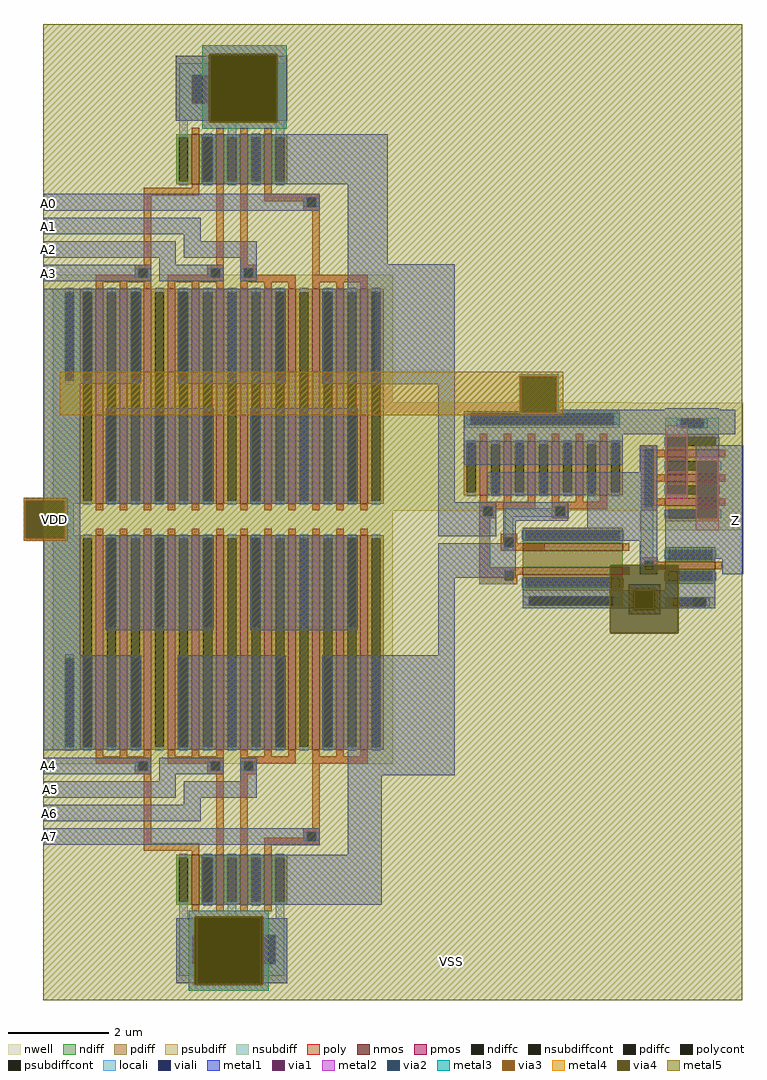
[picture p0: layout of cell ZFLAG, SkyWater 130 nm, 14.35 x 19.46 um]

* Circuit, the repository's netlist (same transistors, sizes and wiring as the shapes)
* NGSPICE file created from ZFLAG.ext - technology: sky130B

.subckt sky130_fd_pr__pfet_01v8_64A2S3 a_n33_n428# a_447_n428# a_n605_n428# a_321_n484#
+ a_n543_n484# a_543_n428# a_159_n428# a_33_n484# a_n255_n484# a_255_n428# w_n641_n484#
+ a_351_n428# a_n417_n428# a_n513_n428# a_n129_n428# a_63_n428# a_n225_n428# a_n321_n428#
X0 a_447_n428# a_321_n484# a_351_n428# w_n641_n484# sky130_fd_pr__pfet_01v8 ad=0.7062 pd=4.61 as=0.7062 ps=4.61 w=4.28 l=0.15
X1 a_n513_n428# a_n543_n484# a_n605_n428# w_n641_n484# sky130_fd_pr__pfet_01v8 ad=0.7062 pd=4.61 as=1.3268 ps=9.18 w=4.28 l=0.15
X2 a_63_n428# a_33_n484# a_n33_n428# w_n641_n484# sky130_fd_pr__pfet_01v8 ad=0.7062 pd=4.61 as=0.7062 ps=4.61 w=4.28 l=0.15
X3 a_n129_n428# a_n255_n484# a_n225_n428# w_n641_n484# sky130_fd_pr__pfet_01v8 ad=0.7062 pd=4.61 as=0.7062 ps=4.61 w=4.28 l=0.15
X4 a_n417_n428# a_n543_n484# a_n513_n428# w_n641_n484# sky130_fd_pr__pfet_01v8 ad=0.7062 pd=4.61 as=0.7062 ps=4.61 w=4.28 l=0.15
X5 a_n33_n428# a_n255_n484# a_n129_n428# w_n641_n484# sky130_fd_pr__pfet_01v8 ad=0.7062 pd=4.61 as=0.7062 ps=4.61 w=4.28 l=0.15
X6 a_351_n428# a_321_n484# a_255_n428# w_n641_n484# sky130_fd_pr__pfet_01v8 ad=0.7062 pd=4.61 as=0.7062 ps=4.61 w=4.28 l=0.15
X7 a_255_n428# a_33_n484# a_159_n428# w_n641_n484# sky130_fd_pr__pfet_01v8 ad=0.7062 pd=4.61 as=0.7062 ps=4.61 w=4.28 l=0.15
X8 a_n321_n428# a_n543_n484# a_n417_n428# w_n641_n484# sky130_fd_pr__pfet_01v8 ad=0.7062 pd=4.61 as=0.7062 ps=4.61 w=4.28 l=0.15
X9 a_543_n428# a_321_n484# a_447_n428# w_n641_n484# sky130_fd_pr__pfet_01v8 ad=1.3268 pd=9.18 as=0.7062 ps=4.61 w=4.28 l=0.15
X10 a_159_n428# a_33_n484# a_63_n428# w_n641_n484# sky130_fd_pr__pfet_01v8 ad=0.7062 pd=4.61 as=0.7062 ps=4.61 w=4.28 l=0.15
X11 a_n225_n428# a_n255_n484# a_n321_n428# w_n641_n484# sky130_fd_pr__pfet_01v8 ad=0.7062 pd=4.61 as=0.7062 ps=4.61 w=4.28 l=0.15
.ends

.subckt sky130_fd_pr__nfet_01v8_S9NJ5Q a_159_n100# a_n159_n126# a_33_n126# a_n129_n100#
+ a_n221_n100# a_63_n100# a_n63_n126# a_n33_n100# a_129_n126# VSUBS
X0 a_n129_n100# a_n159_n126# a_n221_n100# VSUBS sky130_fd_pr__nfet_01v8 ad=0.165 pd=1.33 as=0.31 ps=2.62 w=1 l=0.15
X1 a_63_n100# a_33_n126# a_n33_n100# VSUBS sky130_fd_pr__nfet_01v8 ad=0.165 pd=1.33 as=0.165 ps=1.33 w=1 l=0.15
X2 a_n33_n100# a_n63_n126# a_n129_n100# VSUBS sky130_fd_pr__nfet_01v8 ad=0.165 pd=1.33 as=0.165 ps=1.33 w=1 l=0.15
X3 a_159_n100# a_129_n126# a_63_n100# VSUBS sky130_fd_pr__nfet_01v8 ad=0.31 pd=2.62 as=0.165 ps=1.33 w=1 l=0.15
.ends

.subckt nor4 A B C D VSS Y VDD
Xsky130_fd_pr__pfet_01v8_64A2S3_0 m1_n20_1047# m1_268_1523# VDD D A Y m1_n20_1047#
+ C B m1_268_1523# VDD Y VDD m1_n308_1523# m1_n308_1523# m1_268_1523# m1_n20_1047#
+ m1_n308_1523# sky130_fd_pr__pfet_01v8_64A2S3
Xsky130_fd_pr__nfet_01v8_S9NJ5Q_0 VSS A C Y VSS Y B VSS D VSS sky130_fd_pr__nfet_01v8_S9NJ5Q
.ends

.subckt sky130_fd_pr__nfet_01v8_6H9P4D a_n73_n100# a_15_n100# a_n15_n126# VSUBS
X0 a_15_n100# a_n15_n126# a_n73_n100# VSUBS sky130_fd_pr__nfet_01v8 ad=0.29 pd=2.58 as=0.29 ps=2.58 w=1 l=0.15
.ends

.subckt efepmos_W107-L15-F3 a_n129_n204# a_n173_n107# w_n209_n207# a_n81_n107#
X0 a_n81_n107# a_n129_n204# a_n173_n107# w_n209_n207# sky130_fd_pr__pfet_01v8 ad=0.3317 pd=2.76 as=0.17655 ps=1.4 w=1.07 l=0.15
X1 a_n81_n107# a_n129_n204# a_n173_n107# w_n209_n207# sky130_fd_pr__pfet_01v8 ad=0.17655 pd=1.4 as=0.3317 ps=2.76 w=1.07 l=0.15
X2 a_n173_n107# a_n129_n204# a_n81_n107# w_n209_n207# sky130_fd_pr__pfet_01v8 ad=0.17655 pd=1.4 as=0.17655 ps=1.4 w=1.07 l=0.15
.ends

.subckt inv A VSS VDD Y
Xsky130_fd_pr__nfet_01v8_6H9P4D_0 Y VSS A VSS sky130_fd_pr__nfet_01v8_6H9P4D
Xefepmos_W107-L15-F3_0 A VDD VDD Y efepmos_W107-L15-F3
.ends

.subckt nmos_2shared_W200-L015-F1 a_63_n200# a_n63_n226# a_n33_n200# a_33_n226# a_n125_n200#
+ VSUBS
X0 a_n33_n200# a_n63_n226# a_n125_n200# VSUBS sky130_fd_pr__nfet_01v8 ad=0.33 pd=2.33 as=0.62 ps=4.62 w=2 l=0.15
X1 a_63_n200# a_33_n226# a_n33_n200# VSUBS sky130_fd_pr__nfet_01v8 ad=0.62 pd=4.62 as=0.33 ps=2.33 w=2 l=0.15
.ends

.subckt pmos_p2-w321-L015-f3 a_n317_n107# w_n353_n143# a_n225_n107# a_33_n138# a_n255_n138#
X0 a_n225_n107# a_33_n138# a_n317_n107# w_n353_n143# sky130_fd_pr__pfet_01v8 ad=0.17655 pd=1.4 as=0.17655 ps=1.4 w=1.07 l=0.15
X1 a_n225_n107# a_n255_n138# a_n317_n107# w_n353_n143# sky130_fd_pr__pfet_01v8 ad=0.17655 pd=1.4 as=0.3317 ps=2.76 w=1.07 l=0.15
X2 a_n317_n107# a_33_n138# a_n225_n107# w_n353_n143# sky130_fd_pr__pfet_01v8 ad=0.17655 pd=1.4 as=0.17655 ps=1.4 w=1.07 l=0.15
X3 a_n317_n107# a_n255_n138# a_n225_n107# w_n353_n143# sky130_fd_pr__pfet_01v8 ad=0.17655 pd=1.4 as=0.17655 ps=1.4 w=1.07 l=0.15
X4 a_n225_n107# a_n255_n138# a_n317_n107# w_n353_n143# sky130_fd_pr__pfet_01v8 ad=0.17655 pd=1.4 as=0.17655 ps=1.4 w=1.07 l=0.15
X5 a_n317_n107# a_33_n138# a_n225_n107# w_n353_n143# sky130_fd_pr__pfet_01v8 ad=0.3317 pd=2.76 as=0.17655 ps=1.4 w=1.07 l=0.15
.ends

.subckt NAND2 A B VSS VDD Y
Xnmos_2shared_W200-L015-F1_0 VSS B a_994_146# A Y VSS nmos_2shared_W200-L015-F1
Xpmos_p2-w321-L015-f3_0 VDD VDD Y B A pmos_p2-w321-L015-f3
.ends

.subckt ZFLAG A0 A1 A2 A3 A4 A5 A6 A7 Z VSS VDD
Xnor4_0 A3 A2 A1 A0 VSS nor4_0/Y VDD nor4
Xnor4_1 A4 A5 A6 A7 VSS nor4_1/Y VDD nor4
Xinv_0 inv_0/A VSS VDD Z inv
XNAND2_0 nor4_0/Y nor4_1/Y VSS VDD inv_0/A NAND2
.ends

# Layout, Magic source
magic
tech sky130B
magscale 1 2
<< nwell >>
rect 108 1772 218 2024
rect 1449 1873 1743 2305
rect 2418 1873 2863 2304
<< nsubdiff >>
rect 108 1901 218 2024
rect 108 1775 193 1901
rect 108 1772 218 1775
<< metal1 >>
rect 600 3429 740 3687
rect 998 3429 1045 3687
rect 72 3072 110 3130
rect 74 2978 112 3036
rect 72 2884 110 2946
rect 1379 2855 1445 3375
rect 74 2790 112 2852
rect 1379 2789 1713 2855
rect 72 1923 218 2757
rect 1396 2378 1713 2789
rect -7 1910 218 1923
rect -7 1766 6 1910
rect 150 1766 218 1910
rect 1647 1771 1713 2378
rect 1970 2403 2127 2416
rect 1970 2270 1981 2403
rect 2114 2276 2127 2403
rect 2114 2270 2832 2276
rect 1970 2259 2832 2270
rect 1980 2253 2832 2259
rect 1760 2177 2832 2253
rect 1760 2171 2382 2177
rect -7 1753 218 1766
rect 2419 1753 2517 2027
rect 2802 1759 2862 1909
rect 72 918 218 1753
rect 1647 1732 1713 1742
rect 1647 1666 1714 1732
rect 1647 1296 1713 1666
rect 2381 1484 2432 1555
rect 2503 1484 2661 1555
rect 74 824 112 886
rect 1332 844 1713 1296
rect 1391 817 1713 844
rect 76 730 114 792
rect 76 636 114 698
rect 78 542 116 604
rect 602 -12 676 247
rect 935 -12 1045 247
<< via1 >>
rect 740 3429 998 3687
rect 6 1766 150 1910
rect 1981 2270 2114 2403
rect 2432 1484 2503 1555
rect 676 -12 935 247
<< metal2 >>
rect 705 3687 1043 3730
rect 705 3429 740 3687
rect 998 3429 1043 3687
rect 705 3396 1043 3429
rect 1970 2403 2127 2416
rect 1970 2270 1981 2403
rect 2114 2270 2127 2403
rect 1970 2259 2127 2270
rect -7 1910 163 1923
rect -7 1766 6 1910
rect 150 1766 163 1910
rect -7 1753 163 1766
rect 2421 1555 2514 1566
rect 2421 1484 2432 1555
rect 2503 1484 2514 1555
rect 2421 1473 2514 1484
rect 651 247 971 277
rect 651 -12 676 247
rect 935 -12 971 247
rect 651 -43 971 -12
<< via2 >>
rect 740 3429 998 3687
rect 1981 2270 2114 2403
rect 6 1766 150 1910
rect 2432 1484 2503 1555
rect 686 -12 935 247
<< metal3 >>
rect 705 3692 1043 3730
rect 705 3424 735 3692
rect 1003 3424 1043 3692
rect 705 3396 1043 3424
rect 1970 2408 2127 2416
rect 1970 2265 1976 2408
rect 2119 2265 2127 2408
rect 1970 2259 2127 2265
rect -7 1915 163 1923
rect -7 1761 1 1915
rect 155 1761 163 1915
rect -7 1753 163 1761
rect 2406 1560 2532 1579
rect 2406 1479 2427 1560
rect 2508 1479 2532 1560
rect 2406 1459 2532 1479
rect 651 252 971 277
rect 651 -17 681 252
rect 940 -17 971 252
rect 651 -43 971 -17
<< via3 >>
rect 735 3687 1003 3692
rect 735 3429 740 3687
rect 740 3429 998 3687
rect 998 3429 1003 3687
rect 735 3424 1003 3429
rect 1976 2403 2119 2408
rect 1976 2270 1981 2403
rect 1981 2270 2114 2403
rect 2114 2270 2119 2403
rect 1976 2265 2119 2270
rect 1 1910 155 1915
rect 1 1766 6 1910
rect 6 1766 150 1910
rect 150 1766 155 1910
rect 1 1761 155 1766
rect 2427 1555 2508 1560
rect 2427 1484 2432 1555
rect 2432 1484 2503 1555
rect 2503 1484 2508 1555
rect 2427 1479 2508 1484
rect 681 247 940 252
rect 681 -12 686 247
rect 686 -12 935 247
rect 935 -12 940 247
rect 681 -17 940 -12
<< metal4 >>
rect 137 2408 2144 2426
rect 137 2265 1976 2408
rect 2119 2265 2144 2408
rect 137 2254 2144 2265
rect 1898 2251 2144 2254
rect -7 1915 168 1925
rect -7 1761 1 1915
rect 155 1761 168 1915
rect -7 1753 168 1761
<< via4 >>
rect 733 3692 1005 3694
rect 733 3424 735 3692
rect 735 3424 1003 3692
rect 1003 3424 1005 3692
rect 733 3422 1005 3424
rect 2332 1560 2604 1656
rect 2332 1479 2427 1560
rect 2427 1479 2508 1560
rect 2508 1479 2604 1560
rect 2332 1384 2604 1479
rect 675 252 947 254
rect 675 -17 681 252
rect 681 -17 940 252
rect 940 -17 947 252
rect 675 -18 947 -17
<< metal5 >>
rect 71 3694 2859 3814
rect 71 3422 733 3694
rect 1005 3422 2859 3694
rect 71 1656 2859 3422
rect 71 1384 2332 1656
rect 2604 1384 2859 1656
rect 71 254 2859 1384
rect 71 -18 675 254
rect 947 -18 2859 254
rect 71 -79 2859 -18
use inv  inv_0 ~/Documents/vlsi/vlsi_sky130b/design/mag/inv
transform 1 0 2451 0 1 1795
box 0 -311 412 486
use NAND2  NAND2_0 ~/Documents/vlsi/vlsi_sky130b/design/mag/NAND/NAND2
transform 1 0 1357 0 1 1501
box 356 -17 1062 804
use nor4  nor4_0 ~/Documents/vlsi/vlsi_sky130b/design/mag/NOR/NOR4
transform 1 0 674 0 -1 3804
box -602 118 790 1966
use nor4  nor4_1
transform 1 0 674 0 1 -128
box -602 118 790 1966
<< labels >>
flabel metal1 84 3082 96 3118 0 FreeSans 160 0 0 0 A0
port 0 nsew
flabel metal1 86 2990 98 3026 0 FreeSans 160 0 0 0 A1
port 1 nsew
flabel metal1 86 2896 98 2932 0 FreeSans 160 0 0 0 A2
port 2 nsew
flabel metal1 86 2800 98 2836 0 FreeSans 160 0 0 0 A3
port 3 nsew
flabel metal1 80 836 104 876 0 FreeSans 160 0 0 0 A4
port 4 nsew
flabel metal1 86 740 110 780 0 FreeSans 160 0 0 0 A5
port 5 nsew
flabel metal1 84 644 108 684 0 FreeSans 160 0 0 0 A6
port 6 nsew
flabel metal1 84 552 108 592 0 FreeSans 160 0 0 0 A7
port 8 nsew
flabel metal4 94 1782 138 1892 0 FreeSans 160 0 0 0 VDD
port 12 nsew
flabel metal1 2812 1771 2852 1893 0 FreeSans 160 0 0 0 Z
port 10 nsew
rlabel metal5 1497 -44 1903 197 5 VSS
port 11 s
<< end >>

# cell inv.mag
magic
tech sky130B
magscale 1 2
<< nwell >>
rect 0 366 412 486
rect 101 347 104 366
rect 223 290 343 338
rect 326 288 343 290
rect 376 0 412 366
<< psubdiff >>
rect 100 -270 300 -268
rect 100 -304 131 -270
rect 263 -304 300 -270
rect 100 -311 300 -304
<< nsubdiff >>
rect 100 442 314 448
rect 100 408 163 442
rect 254 408 314 442
rect 100 382 314 408
<< psubdiffcont >>
rect 131 -304 263 -270
<< nsubdiffcont >>
rect 163 408 254 442
<< poly >>
rect 3 -124 70 -108
rect 3 -158 19 -124
rect 53 -126 70 -124
rect 53 -156 75 -126
rect 53 -158 70 -156
rect 3 -174 70 -158
<< polycont >>
rect 19 -158 53 -124
<< locali >>
rect 147 408 163 442
rect 254 408 270 442
rect 3 -124 53 339
rect 3 -158 19 -124
rect 3 -174 53 -158
rect 115 -304 131 -270
rect 263 -304 279 -270
<< viali >>
rect 163 408 254 442
rect 19 -158 53 -124
rect 131 -304 263 -270
<< metal1 >>
rect 100 442 314 486
rect 100 408 163 442
rect 254 408 314 442
rect 100 366 314 408
rect 101 347 104 366
rect 0 80 53 338
rect 223 82 412 338
rect 0 -124 69 80
rect 100 -114 412 82
rect 0 -158 19 -124
rect 53 -158 69 -124
rect 0 -175 69 -158
rect 100 -270 300 -161
rect 328 -175 412 -114
rect 100 -304 131 -270
rect 263 -304 300 -270
rect 100 -311 300 -304
use efepmos_W107-L15-F3  efepmos_W107-L15-F3_0
transform 0 1 207 -1 0 209
box -209 -207 209 169
use sky130_fd_pr__nfet_01v8_6H9P4D  sky130_fd_pr__nfet_01v8_6H9P4D_0
transform 0 1 200 -1 0 -141
box -73 -126 73 126
<< labels >>
rlabel metal1 0 78 0 78 3 A
port 1 e
rlabel metal1 198 -311 198 -311 5 VSS
port 2 s
rlabel metal1 210 486 210 486 5 VDD
port 3 s
rlabel metal1 412 78 412 78 3 Y
port 4 e
<< end >>

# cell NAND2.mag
magic
tech sky130B
magscale 1 2
<< nwell >>
rect 356 684 1062 804
<< ndiff >>
rect 994 146 996 148
rect 626 54 1026 60
<< psubdiff >>
rect 626 28 1026 54
rect 626 -6 653 28
rect 988 -6 1026 28
rect 626 -17 1026 -6
<< nsubdiff >>
rect 396 761 1013 768
rect 396 714 420 761
rect 989 714 1013 761
rect 396 702 1013 714
<< psubdiffcont >>
rect 653 -6 988 28
<< nsubdiffcont >>
rect 420 714 989 761
<< poly >>
rect 453 387 520 408
rect 453 352 470 387
rect 504 352 520 387
rect 453 341 520 352
rect 742 387 809 408
rect 742 352 759 387
rect 793 352 809 387
rect 742 341 809 352
rect 453 146 496 341
rect 538 263 604 279
rect 538 228 554 263
rect 588 242 604 263
rect 588 228 714 242
rect 538 212 714 228
rect 453 130 604 146
rect 453 95 554 130
rect 588 95 604 130
rect 453 79 604 95
<< polycont >>
rect 470 352 504 387
rect 759 352 793 387
rect 554 228 588 263
rect 554 95 588 130
<< locali >>
rect 404 714 420 761
rect 989 714 1013 761
rect 453 352 470 387
rect 504 352 520 387
rect 742 381 759 387
rect 554 352 759 381
rect 793 352 809 387
rect 453 146 496 352
rect 554 347 809 352
rect 554 263 588 347
rect 554 212 588 228
rect 453 130 588 146
rect 453 95 554 130
rect 453 79 588 95
rect 626 -6 653 28
rect 988 -6 1026 28
<< viali >>
rect 420 714 989 761
rect 470 352 504 387
rect 759 352 793 387
rect 554 228 588 263
rect 653 -6 988 28
<< metal1 >>
rect 391 761 1025 768
rect 391 714 420 761
rect 989 714 1025 761
rect 391 555 1025 714
rect 485 434 1062 526
rect 356 387 520 405
rect 356 352 470 387
rect 504 352 520 387
rect 356 270 520 352
rect 548 387 808 406
rect 548 352 759 387
rect 793 352 808 387
rect 548 332 808 352
rect 548 263 598 332
rect 884 304 1062 434
rect 548 241 554 263
rect 356 228 554 241
rect 588 228 598 263
rect 626 252 1062 304
rect 356 105 598 228
rect 626 28 1026 105
rect 626 -6 653 28
rect 988 -6 1026 28
rect 626 -17 1026 -6
use nmos_2shared_W200-L015-F1  nmos_2shared_W200-L015-F1_0
transform 0 1 826 -1 0 179
box -125 -226 125 226
use pmos_p2-w321-L015-f3  pmos_p2-w321-L015-f3_0
transform 1 0 709 0 -1 541
box -353 -143 353 169
<< labels >>
rlabel metal1 356 341 356 341 7 A
port 1 w
rlabel metal1 356 173 356 173 7 B
port 2 w
rlabel metal1 826 54 826 54 5 VSS
port 3 s
rlabel metal1 709 684 709 684 1 VDD
port 4 n
rlabel metal1 1062 451 1062 451 3 Y
port 5 e
<< end >>

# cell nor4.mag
magic
tech sky130B
magscale 1 2
<< nwell >>
rect -602 1489 -492 1966
rect -602 1467 -482 1489
rect -602 1047 -456 1467
rect -602 1023 -461 1047
rect -602 991 -492 1023
<< psubdiff >>
rect -72 307 370 375
rect -72 194 -8 307
rect 322 194 370 307
rect -72 118 370 194
<< nsubdiff >>
rect -566 1413 -456 1903
rect -566 1059 -516 1413
rect -482 1059 -456 1413
rect -566 1047 -456 1059
<< psubdiffcont >>
rect -8 194 322 307
<< nsubdiffcont >>
rect -516 1059 -482 1413
<< poly >>
rect -238 1000 -172 1016
rect -238 966 -222 1000
rect -188 966 -172 1000
rect -238 950 -172 966
rect 50 1000 116 1016
rect 50 966 66 1000
rect 100 966 116 1000
rect 50 950 116 966
rect -202 674 -172 950
rect -202 644 20 674
rect 86 650 116 950
rect 182 1000 248 1016
rect 182 966 198 1000
rect 232 966 248 1000
rect 182 950 248 966
rect 182 650 212 950
rect 470 734 500 991
rect 434 718 500 734
rect 434 697 450 718
rect 278 684 450 697
rect 484 684 500 718
rect 278 667 500 684
rect 278 655 308 667
<< polycont >>
rect -222 966 -188 1000
rect 66 966 100 1000
rect 198 966 232 1000
rect 450 684 484 718
<< locali >>
rect -516 1413 -482 1429
rect -516 1043 -482 1059
rect -238 966 -222 1000
rect -188 966 -172 1000
rect 50 966 66 1000
rect 100 966 116 1000
rect 182 966 198 1000
rect 232 966 248 1000
rect 434 684 450 718
rect 484 684 500 718
rect -60 375 -26 425
rect 132 375 166 425
rect 324 375 358 425
rect -60 307 358 375
rect -60 194 -8 307
rect 322 194 358 307
rect -60 146 358 194
<< viali >>
rect -516 1059 -482 1413
rect -222 966 -188 1000
rect 66 966 100 1000
rect 198 966 232 1000
rect 450 684 484 718
rect -8 194 322 307
<< metal1 >>
rect -308 1523 -162 1903
rect -116 1523 30 1903
rect 268 1523 606 1903
rect -531 1413 -450 1425
rect -531 1059 -516 1413
rect -482 1059 -450 1413
rect -531 1047 -450 1059
rect -404 1047 -258 1425
rect -20 1047 318 1425
rect 556 1047 702 1425
rect 611 1016 748 1047
rect -602 1000 -172 1016
rect -602 966 -222 1000
rect -188 966 -172 1000
rect -602 950 -172 966
rect -141 1000 116 1016
rect -141 966 66 1000
rect 100 966 116 1000
rect -141 950 116 966
rect 182 1000 248 1016
rect 182 966 198 1000
rect 232 966 248 1000
rect -141 922 -75 950
rect 182 922 248 966
rect -602 856 -75 922
rect -42 856 248 922
rect 611 950 790 1016
rect -42 828 25 856
rect -602 762 25 828
rect -602 718 500 734
rect -602 684 450 718
rect 484 684 500 718
rect -602 668 500 684
rect 611 629 748 950
rect 76 429 748 629
rect -20 307 334 317
rect -20 194 -8 307
rect 322 194 334 307
rect -20 187 334 194
use sky130_fd_pr__nfet_01v8_S9NJ5Q  sky130_fd_pr__nfet_01v8_S9NJ5Q_0
transform 1 0 149 0 1 529
box -221 -126 221 126
use sky130_fd_pr__pfet_01v8_64A2S3  sky130_fd_pr__pfet_01v8_64A2S3_0
transform 1 0 149 0 1 1475
box -641 -484 641 491
<< labels >>
rlabel metal1 -602 981 -602 981 3 A
port 6 e
rlabel metal1 -602 889 -602 889 3 B
port 7 e
rlabel metal1 -602 793 -602 793 3 C
port 8 e
rlabel metal1 -602 698 -602 698 3 D
port 9 e
rlabel metal1 158 187 158 187 5 VSS
port 10 s
rlabel metal1 -531 1235 -531 1235 5 VDD
port 11 s
rlabel metal1 790 982 790 982 3 Y
port 12 e
<< end >>

# cell sky130_fd_pr__nfet_01v8_S9NJ5Q: kit device sky130_fd_pr__nfet_01v8, w 1 l 0.15 m 1 nf 4 diffcov 100 polycov 100 guard 0 glc 1 grc 1 gtc 1 gbc 1 tbcov 100 rlcov 100 topc 1 botc 0 poverlap 0 doverlap 1 lmin 0.15 wmin 0.42 compatible {sky130_fd_pr__nfet_01v8 sky130_fd_pr__nfet_01v8_lvt sky130_fd_bs_flash__special_sonosfet_star sky130_fd_pr__nfet_g5v0d10v5 sky130_fd_pr__nfet_05v0_nvt sky130_fd_pr__nfet_03v3_nvt} full_metal 1 viasrc 100 viadrn 100 viagate 0 viagb 0 viagr 0 viagl 0 viagt 0

# cell sky130_fd_pr__pfet_01v8_64A2S3: kit device sky130_fd_pr__pfet_01v8, w 4.28 l 0.15 m 1 nf 12 diffcov 100 polycov 100 guard 0 glc 1 grc 1 gtc 1 gbc 1 tbcov 100 rlcov 100 topc 0 botc 1 poverlap 0 doverlap 1 lmin 0.15 wmin 0.42 compatible {sky130_fd_pr__pfet_01v8 sky130_fd_pr__pfet_01v8_lvt sky130_fd_pr__pfet_01v8_hvt sky130_fd_pr__pfet_g5v0d10v5} full_metal 1 viasrc 100 viadrn 100 viagate 0 viagb 0 viagr 0 viagl 0 viagt 0

# cell nmos_2shared_W200-L015-F1: kit device sky130_fd_pr__nfet_01v8, w 2 l 0.150 m 1 nf 2 diffcov 100 polycov 100 guard 0 glc 1 grc 1 gtc 1 gbc 1 tbcov 100 rlcov 100 topc 0 botc 0 poverlap 1 doverlap 1 lmin 0.15 wmin 0.42 compatible {sky130_fd_pr__nfet_01v8 sky130_fd_pr__nfet_01v8_lvt sky130_fd_bs_flash__special_sonosfet_star sky130_fd_pr__nfet_g5v0d10v5 sky130_fd_pr__nfet_05v0_nvt sky130_fd_pr__nfet_03v3_nvt} full_metal 1 viasrc 100 viadrn 100 viagate 100 viagb 0 viagr 0 viagl 0 viagt 0

# cell pmos_p2-w321-L015-f3: kit device sky130_fd_pr__pfet_01v8, w 1.07 l 0.15 m 1 nf 6 diffcov 100 polycov 100 guard 0 glc 1 grc 1 gtc 1 gbc 1 tbcov 100 rlcov 100 topc 0 botc 0 poverlap 0 doverlap 1 lmin 0.15 wmin 0.42 compatible {sky130_fd_pr__pfet_01v8 sky130_fd_pr__pfet_01v8_lvt sky130_fd_pr__pfet_01v8_hvt sky130_fd_pr__pfet_g5v0d10v5} full_metal 1 viasrc 100 viadrn 100 viagate 100 viagb 0 viagr 0 viagl 0 viagt 0

# cell efepmos_W107-L15-F3: kit device sky130_fd_pr__pfet_01v8, w 1.07 l 0.15 m 1 nf 3 diffcov 100 polycov 100 guard 0 glc 1 grc 1 gtc 1 gbc 1 tbcov 100 rlcov 100 topc 0 botc 0 poverlap 0 doverlap 1 lmin 0.15 wmin 0.42 compatible {sky130_fd_pr__pfet_01v8 sky130_fd_pr__pfet_01v8_lvt sky130_fd_pr__pfet_01v8_hvt sky130_fd_pr__pfet_g5v0d10v5} full_metal 1 viasrc 100 viadrn 100 viagate 100 viagb 0 viagr 0 viagl 0 viagt 0

# cell sky130_fd_pr__nfet_01v8_6H9P4D: kit device sky130_fd_pr__nfet_01v8, w 1 l 0.150 m 1 nf 1 diffcov 100 polycov 100 guard 0 glc 1 grc 1 gtc 1 gbc 1 tbcov 100 rlcov 100 topc 0 botc 0 poverlap 0 doverlap 1 lmin 0.15 wmin 0.42 compatible {sky130_fd_pr__nfet_01v8 sky130_fd_pr__nfet_01v8_lvt sky130_fd_bs_flash__special_sonosfet_star sky130_fd_pr__nfet_g5v0d10v5 sky130_fd_pr__nfet_05v0_nvt sky130_fd_pr__nfet_03v3_nvt} full_metal 1 viasrc 100 viadrn 100 viagate 100 viagb 0 viagr 0 viagl 0 viagt 0
